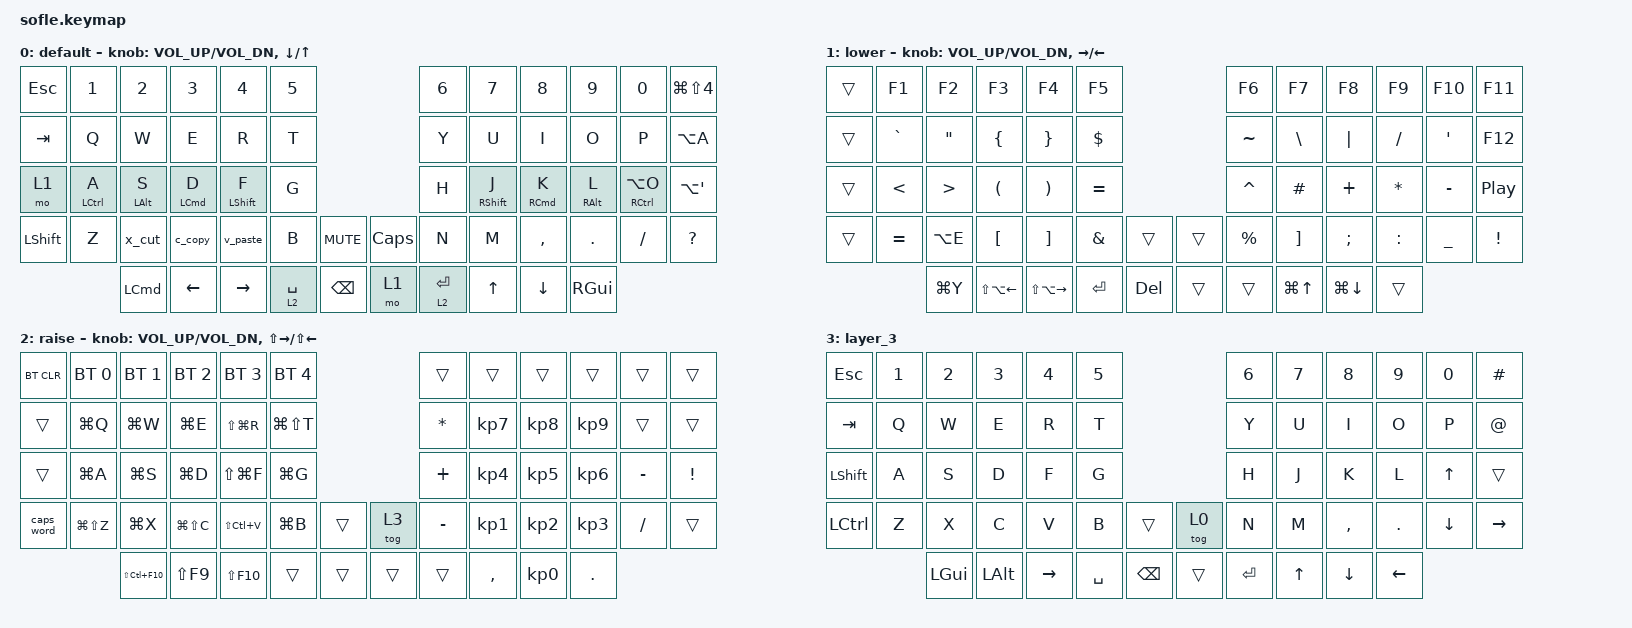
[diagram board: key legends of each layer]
#include "keypositions_60keys.dtsi"
#include <behaviors.dtsi>
#include <dt-bindings/zmk/bt.h>
#include <dt-bindings/zmk/keys.h>

#define KEYS_L LN0 LN1 LN2 LN3 LN4 LN5 LT0 LT1 LT2 LT3 LT4 LT5 LM0 LM1 LM2 LM3 LM4 LM5 LB0 LB1 LB2 LB3 LB4 LB5 LH0 LH1 LH2 LH3 LH4
#define KEYS_R RN0 RN1 RN2 RN3 RN4 RN5 RT0 RT1 RT2 RT3 RT4 RT5 RM0 RM1 RM2 RM3 RM4 RM5 RB0 RB1 RB2 RB3 RB4 RB5 RH0 RH1 RH2 RH3 RH4
#define KEYS_T LH0 LH1 LH2 LH3 LH4 RH0 RH1 RH2 RH3 RH4

/*
Left hand
LN0 to LN5: 0 to 5
LT0 to LT5: 12 to 17
LM0 to LM5: 24 to 29
LB0 to LB5: 36 to 41
LH0 to LH4: 50 to 54

Right hand
RN0 to RN5: 6 to 11
RT0 to RT5: 18 to 23
RM0 to RM5: 30 to 35
RB0 to RB5: 43 to 48
RH0 to RH4: 55 to 59
*/

#define BASE 0
#define LOWER 1
#define RAISE 2
#define ADJUST 3

// Set nice!view CS pin to use D2 pin on nice!nano V2

&nice_view_spi { cs-gpios = <&pro_micro 0 GPIO_ACTIVE_HIGH>; };

&left_encoder { steps = <30>; };

&right_encoder { steps = <30>; };

&sensors { triggers-per-rotation = <15>; };

/ {
    behaviors {
        /* left-hand HRMs */

        hm_l: homerow_mods_left {
            compatible = "zmk,behavior-hold-tap";
            flavor = "balanced";
            label = "HOMEROW_MODS_LEFT";
            tapping-term-ms = <200>;
            #binding-cells = <2>;
            quick-tap-ms = <150>;                // repeat on tap-into-hold
            require-prior-idle-ms = <100>;
            bindings = <&kp>, <&kp>;

            hold-trigger-key-positions = <KEYS_R KEYS_T>;
            hold-trigger-on-release;             // delay positional check until key-release
        };

        /* right-hand HRMs */

        hm_r: homerow_mods_right {
            compatible = "zmk,behavior-hold-tap";
            flavor = "balanced";
            label = "HOMEROW_MODS_RIGHT";
            tapping-term-ms = <200>;
            #binding-cells = <2>;
            quick-tap-ms = <150>;                // repeat on tap-into-hold
            require-prior-idle-ms = <100>;
            bindings = <&kp>, <&kp>;

            hold-trigger-key-positions = <KEYS_L KEYS_T>;
            hold-trigger-on-release;             // delay positional check until key-release
        };

        c_copy: copy_on_double_tap {
            compatible = "zmk,behavior-tap-dance";
            label = "COPY_ON_DOUBLE_TAP";
            #binding-cells = <0>;
            tapping-term-ms = <150>;
            bindings = <&kp C>, <&kp LG(C)>;
        };

        v_paste: paste_on_double_tap {
            compatible = "zmk,behavior-tap-dance";
            label = "PASTE_ON_DOUBLE_TAP";
            #binding-cells = <0>;
            tapping-term-ms = <150>;
            bindings = <&kp V>, <&kp LG(V)>;
        };

        x_cut: cut_on_double_tap {
            compatible = "zmk,behavior-tap-dance";
            label = "CUT_ON_DOUBLE_TAP";
            #binding-cells = <0>;
            tapping-term-ms = <150>;
            bindings = <&kp X>, <&kp LG(X)>;
        };
    };

    // Activate ADJUST layer by pressing raise and lower

    conditional_layers {
        compatible = "zmk,conditional-layers";

        adjust_layer {
            if-layers = <1 2>;
            then-layer = <3>;
        };
    };

    keymap {
        compatible = "zmk,keymap";

        default_layer {
            label = "default";

            // ------------------------------------------------------------------------------------------------------------
            // |   `   |  1  |  2  |  3   |  4   |  5   |                   |  6   |  7    |  8    |  9   |   0   |       |
            // |  ESC  |  Q  |  W  |  E   |  R   |  T   |                   |  Y   |  U    |  I    |  O   |   P   | BKSPC |
            // |  TAB  |  A  |  S  |  D   |  F   |  G   |                   |  H   |  J    |  K    |  L   |   ;   |   '   |
            // | SHIFT |  Z  |  X  |  C   |  V   |  B   |  MUTE  |  |       |  N   |  M    |  ,    |  .   |   /   | SHIFT |
            //               | GUI | ALT  | CTRL | LOWER|  ENTER |  | SPACE | RAISE| CTRL  | ALT   | GUI  |

            bindings = <
&kp ESCAPE      &kp N1                &kp N2            &kp N3          &kp N4           &kp N5                                      &kp N6       &kp N7          &kp N8          &kp N9             &kp N0                     &kp LG(LS(N4))
&kp TAB         &kp Q                 &kp W             &kp E           &kp R            &kp T                                       &kp Y        &kp U           &kp I           &kp O              &kp P                      &kp LA(A)
&mo 1           &hm_l LEFT_CONTROL A  &hm_l LEFT_ALT S  &hm_l LCMD D    &hm_l LSHFT F    &kp G                                       &kp H        &hm_r RSHIFT J  &hm_r RCMD K    &hm_r RIGHT_ALT L  &hm_r RIGHT_CONTROL LA(O)  &kp LA(SINGLE_QUOTE)
&kp LEFT_SHIFT  &kp Z                 &x_cut            &c_copy         &v_paste         &kp B        &kp C_MUTE       &kp CAPSLOCK  &kp N        &kp M           &kp COMMA       &kp DOT            &kp FSLH                   &kp QUESTION
                                      &kp LEFT_COMMAND  &kp LEFT_ARROW  &kp RIGHT_ARROW  &lt 2 SPACE  &kp BACKSPACE    &mo 1         &lt 2 ENTER  &kp UP_ARROW    &kp DOWN_ARROW  &kp RGUI
            >;

            sensor-bindings =
                <&inc_dec_kp C_VOL_UP C_VOL_DN>,
                <&inc_dec_kp DOWN_ARROW UP_ARROW>;
        };

        lower_layer {
            label = "lower";

            // TODO: Some binds are waiting for shifted keycode support.
            // ------------------------------------------------------------------------------------------------------------
            // |       |  F1 |  F2 |  F3  |  F4  |  F5  |                   |  F6  |  F7   |  F8   |  F9  |  F10  |  F11  |
            // |   `   |  1  |  2  |  3   |  4   |  5   |                   |  6   |  7    |  8    |  9   |   0   |  F12  |
            // |       |  !  |  @  |  #   |  $   |  %   |                   |  ^   |  &    |  *    |  (   |   )   |   |   |
            // |       |  =  |  -  |  +   |  {   |  }   |        |  |       |  [   |  ]    |  ;    |  :   |   \   |       |
            //               |     |      |      |      |        |  |       |      |       |       |      |

            bindings = <
&trans  &kp F1         &kp F2             &kp F3                  &kp F4                   &kp F5                               &kp F6       &kp F7            &kp F8              &kp F9        &kp F10           &kp F11
&trans  &kp GRAVE      &kp DOUBLE_QUOTES  &kp LEFT_BRACE          &kp RIGHT_BRACE          &kp DOLLAR                           &kp TILDE    &kp BACKSLASH     &kp PIPE            &kp SLASH     &kp SINGLE_QUOTE  &kp F12
&trans  &kp LESS_THAN  &kp GREATER_THAN   &kp LEFT_PARENTHESIS    &kp RIGHT_PARENTHESIS    &kp EQUAL                            &kp CARET    &kp HASH          &kp PLUS            &kp ASTERISK  &kp MINUS         &kp C_PLAY_PAUSE
&trans  &kp EQUAL      &kp LA(E)          &kp LEFT_BRACKET        &kp RIGHT_BRACKET        &kp AMPERSAND  &trans        &trans  &kp PERCENT  &kp RBKT          &kp SEMI            &kp COLON     &kp UNDERSCORE    &kp EXCLAMATION
                       &kp LG(Y)          &kp LS(LA(LEFT_ARROW))  &kp LS(LA(RIGHT_ARROW))  &kp ENTER      &kp DELETE    &trans  &trans       &kp LG(UP_ARROW)  &kp LG(DOWN_ARROW)  &trans
            >;

            sensor-bindings =
                <&inc_dec_kp C_VOL_UP C_VOL_DN>,
                <&inc_dec_kp RIGHT_ARROW LEFT_ARROW>;
        };

        raise_layer {
            label = "raise";

            // ------------------------------------------------------------------------------------------------------------
            // | BTCLR | BT1  | BT2  |  BT3  |  BT4  |  BT5 |                |      |      |       |      |       |       |
            // |       | INS  | PSCR | GUI   |       |      |                | PGUP |      |   ^   |      |       |       |
            // |       | ALT  | CTRL | SHIFT |       | CAPS |                | PGDN |   <- |   v   |  ->  |  DEL  | BKSPC |
            // |       | UNDO | CUT  | COPY  | PASTE |      |      |  |      |      |      |       |      |       |       |
            //                |      |       |       |      |      |  |      |      |      |       |      |

            bindings = <
&bt BT_CLR  &bt BT_SEL 0   &bt BT_SEL 1     &bt BT_SEL 2   &bt BT_SEL 3   &bt BT_SEL 4                     &trans        &trans           &trans           &trans           &trans     &trans
&trans      &kp LG(Q)      &kp LG(W)        &kp LG(E)      &kp LS(LG(R))  &kp LG(LS(T))                    &kp ASTERISK  &kp KP_N7        &kp KP_NUMBER_8  &kp KP_NUMBER_9  &trans     &trans
&trans      &kp LG(A)      &kp LG(S)        &kp LG(D)      &kp LS(LG(F))  &kp LG(G)                        &kp PLUS      &kp KP_NUMBER_4  &kp KP_NUMBER_5  &kp KP_NUMBER_6  &kp MINUS  &kp EXCLAMATION
&caps_word  &kp LG(LS(Z))  &kp LG(X)        &kp LG(LS(C))  &kp LS(LC(V))  &kp LG(B)      &trans    &tog 3  &kp MINUS     &kp KP_NUMBER_1  &kp KP_NUMBER_2  &kp KP_NUMBER_3  &kp SLASH  &trans
                           &kp LS(LC(F10))  &kp LS(F9)     &kp LS(F10)    &trans         &trans    &trans  &trans        &kp COMMA        &kp KP_NUMBER_0  &kp PERIOD
            >;

            sensor-bindings =
                <&inc_dec_kp C_VOL_UP C_VOL_DN>,
                <&inc_dec_kp LS(RIGHT_ARROW) LS(LEFT_ARROW)>;
        };

        layer_3 {
            bindings = <
&kp ESCAPE        &kp NUMBER_1  &kp NUMBER_2  &kp NUMBER_3  &kp NUMBER_4     &kp NUMBER_5                           &kp NUMBER_6  &kp NUMBER_7  &kp NUMBER_8    &kp NUMBER_9    &kp NUMBER_0    &kp HASH
&kp TAB           &kp Q         &kp W         &kp E         &kp R            &kp T                                  &kp Y         &kp U         &kp I           &kp O           &kp P           &kp AT
&kp LEFT_SHIFT    &kp A         &kp S         &kp D         &kp F            &kp G                                  &kp H         &kp J         &kp K           &kp L           &kp UP_ARROW    &trans
&kp LEFT_CONTROL  &kp Z         &kp X         &kp C         &kp V            &kp B         &trans           &tog 0  &kp N         &kp M         &kp COMMA       &kp PERIOD      &kp DOWN_ARROW  &kp RIGHT_ARROW
                                &kp LEFT_GUI  &kp LEFT_ALT  &kp RIGHT_ARROW  &kp SPACE     &kp BACKSPACE    &trans  &kp ENTER     &kp UP_ARROW  &kp DOWN_ARROW  &kp LEFT_ARROW
            >;
        };
    };
};
